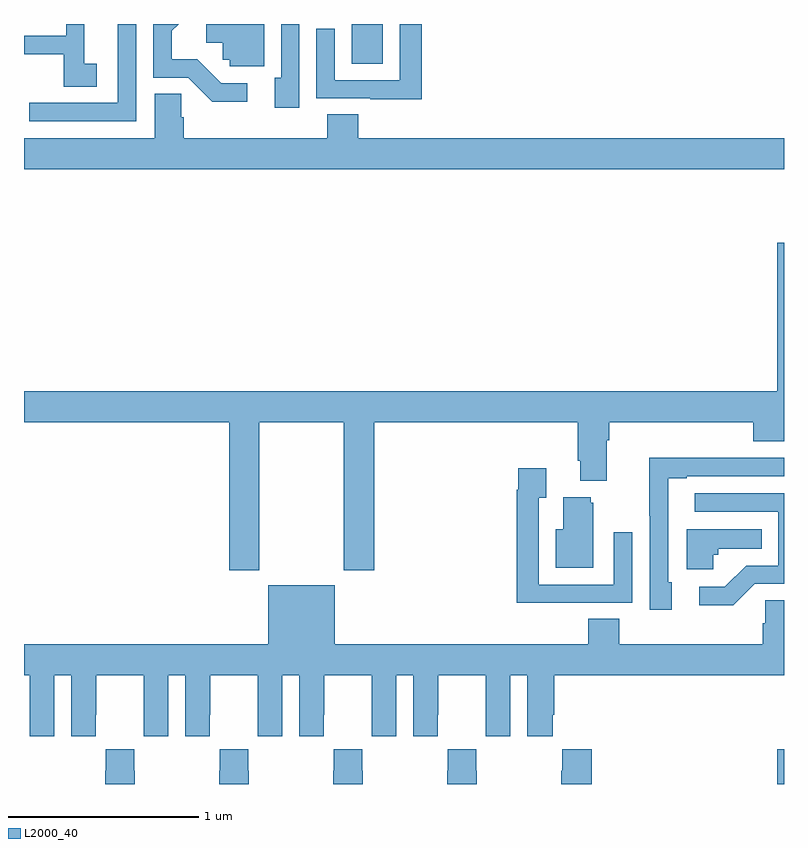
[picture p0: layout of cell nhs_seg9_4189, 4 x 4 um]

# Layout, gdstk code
import gdstk
lib = gdstk.Library(unit=1e-6, precision=1e-09)
def R(c, l, rs):  # rectangles x0, y0, x1, y1
    for r in rs: c.add(gdstk.rectangle(r[:2], r[2:], *l))
def P(c, l, *ps):  # polygons
    for p in ps: c.add(gdstk.Polygon(p, *l))
L2000_40 = (2000, 40)

nhs_seg9_4189 = lib.new_cell('nhs_seg9_4189')
R(nhs_seg9_4189, L2000_40, [(354.965,1210.5,355,1210.684), (352.724,1214.29,352.888,1214.5)])
P(nhs_seg9_4189, L2000_40, [(351.382,1214.292),(351.318,1214.292),(351.318,1214.5),(351.222,1214.5),(351.222,1214.439),(351,1214.439),(351,1214.341),(351.21,1214.341),(351.21,1214.17),(351.382,1214.17)],
  [(352.449,1214.5),(352.353,1214.5),(352.353,1214.218),(352.319,1214.218),(352.319,1214.058),(352.449,1214.058)],
  [(351.591,1214.5),(351.494,1214.5),(351.494,1214.085),(351.027,1214.085),(351.027,1213.989),(351.591,1213.989)],
  [(353.093,1214.5),(352.977,1214.5),(352.977,1214.205),(352.635,1214.205),(352.635,1214.476),(352.539,1214.476),(352.539,1214.109),(352.823,1214.109),(352.823,1214.105),(353.093,1214.105)],
  [(352.264,1214.5),(351.96,1214.5),(351.96,1214.402),(352.047,1214.402),(352.047,1214.313),(352.083,1214.313),(352.083,1214.277),(352.264,1214.277)],
  [(352.174,1214.187),(352.038,1214.187),(351.911,1214.314),(351.778,1214.314),(351.778,1214.464),(351.814,1214.5),(351.681,1214.5),(351.681,1214.217),(351.864,1214.217),(351.992,1214.09),(352.174,1214.09)],
  [(351.689,1214.132),(351.689,1213.9),(351,1213.9),(351,1213.736),(355,1213.736),(355,1213.9),(352.76,1213.9),(352.76,1214.024),(352.595,1214.024),(352.595,1213.9),(351.842,1213.9),(351.842,1214.01),(351.827,1214.01),(351.827,1214.132)],
  [(352.239,1212.404),(352.684,1212.404),(352.684,1211.625),(352.844,1211.625),(352.844,1212.404),(353.915,1212.404),(353.915,1212.202),(353.927,1212.202),(353.927,1212.095),(354.067,1212.095),(354.067,1212.308),(354.08,1212.308),(354.08,1212.404),(354.839,1212.404),(354.839,1212.305),(355,1212.305),(355,1213.348),(354.965,1213.348),(354.965,1212.568),(351,1212.568),(351,1212.404),(352.079,1212.404),(352.079,1211.625),(352.239,1211.625)],
  [(354.409,1211.562),(354.39,1211.562),(354.39,1212.108),(354.487,1212.108),(354.487,1212.12),(355,1212.12),(355,1212.216),(354.755,1212.216),(354.755,1212.218),(354.292,1212.218),(354.292,1211.911),(354.294,1211.911),(354.294,1211.418),(354.409,1211.418)],
  [(353.885,1211.454),(354.201,1211.454),(354.201,1211.824),(354.105,1211.824),(354.105,1211.55),(353.709,1211.55),(353.709,1212.007),(353.749,1212.007),(353.749,1212.163),(353.601,1212.163),(353.601,1212.05),(353.593,1212.05),(353.593,1211.453),(353.885,1211.453)],
  [(354.846,1211.553),(355,1211.553),(355,1212.03),(354.531,1212.03),(354.531,1211.934),(354.969,1211.934),(354.969,1211.649),(354.8,1211.649),(354.689,1211.538),(354.555,1211.538),(354.555,1211.441),(354.733,1211.441)],
  [(353.995,1211.979),(353.984,1211.979),(353.984,1212.01),(353.837,1212.01),(353.837,1211.842),(353.798,1211.842),(353.798,1211.639),(353.995,1211.639)],
  [(354.627,1211.706),(354.654,1211.706),(354.654,1211.738),(354.884,1211.738),(354.884,1211.842),(354.488,1211.842),(354.488,1211.63),(354.627,1211.63)],
  [(352.636,1211.545),(352.286,1211.545),(352.286,1211.236),(351,1211.236),(351,1211.072),(351.029,1211.072),(351.029,1210.864),(351.03,1210.864),(351.03,1210.752),(351.16,1210.752),(351.16,1211.072),(351.248,1211.072),(351.248,1210.752),(351.378,1210.752),(351.378,1210.864),(351.379,1210.864),(351.379,1211.072),(351.629,1211.072),(351.629,1210.864),(351.63,1210.864),(351.63,1210.752),(351.76,1210.752),(351.76,1211.072),(351.848,1211.072),(351.848,1210.752),(351.978,1210.752),(351.978,1210.864),(351.979,1210.864),(351.979,1211.072),(352.229,1211.072),(352.229,1210.864),(352.23,1210.864),(352.23,1210.752),(352.36,1210.752),(352.36,1211.072),(352.448,1211.072),(352.448,1210.752),(352.578,1210.752),(352.578,1210.864),(352.579,1210.864),(352.579,1211.072),(352.829,1211.072),(352.829,1210.864),(352.83,1210.864),(352.83,1210.752),(352.96,1210.752),(352.96,1211.072),(353.048,1211.072),(353.048,1210.752),(353.178,1210.752),(353.178,1210.864),(353.179,1210.864),(353.179,1211.072),(353.429,1211.072),(353.429,1210.864),(353.43,1210.864),(353.43,1210.752),(353.56,1210.752),(353.56,1211.072),(353.648,1211.072),(353.648,1210.752),(353.782,1210.752),(353.782,1210.864),(353.792,1210.864),(353.792,1211.072),(355,1211.072),(355,1211.468),(354.9,1211.468),(354.9,1211.345),(354.887,1211.345),(354.887,1211.236),(354.134,1211.236),(354.134,1211.369),(353.969,1211.369),(353.969,1211.236),(352.636,1211.236)],
  [(353.382,1210.571),(353.379,1210.571),(353.379,1210.684),(353.229,1210.684),(353.229,1210.571),(353.227,1210.571),(353.227,1210.5),(353.382,1210.5)],
  [(353.987,1210.684),(353.833,1210.684),(353.833,1210.571),(353.827,1210.571),(353.827,1210.5),(353.987,1210.5)],
  [(352.782,1210.571),(352.779,1210.571),(352.779,1210.684),(352.629,1210.684),(352.629,1210.571),(352.627,1210.571),(352.627,1210.5),(352.782,1210.5)],
  [(352.182,1210.571),(352.179,1210.571),(352.179,1210.684),(352.029,1210.684),(352.029,1210.571),(352.027,1210.571),(352.027,1210.5),(352.182,1210.5)],
  [(351.582,1210.571),(351.579,1210.571),(351.579,1210.684),(351.429,1210.684),(351.429,1210.571),(351.427,1210.571),(351.427,1210.5),(351.582,1210.5)])

lib.write_gds('nhs_seg9_4189.gds')
